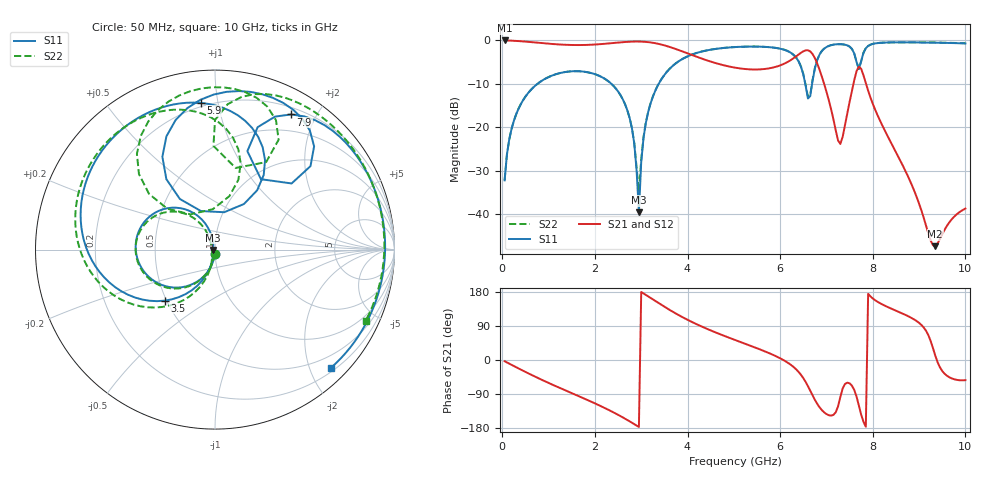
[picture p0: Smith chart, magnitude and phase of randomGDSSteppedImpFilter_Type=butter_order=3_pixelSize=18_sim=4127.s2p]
! freq	dB(S11)	phase(S11)	dB(S12)	phase(S12)
!  dB(S21)	phase(S21)	dB(S22)	phase(S22)
!S-par simulation data
#  GHz  S  DB  R 50
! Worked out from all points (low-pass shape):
!   200 points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, 50 MHz to 10 GHz, reference 50 ohm
!   highest |S21| = -0.01 dB at 50 MHz (marker M1); lowest = -47.4 dB at 9.35 GHz (marker M2)
!   |S21| within 3 dB of the highest: start of sweep to 4.008 GHz; 6.429 GHz to 6.689 GHz (260.4 MHz wide, 3.97 % of centre)
!   lowest |S11| = -39.6 dB at 2.95 GHz (marker M3), VSWR 1.02, Z = 49 - j0.166 ohm
!   |S11| at or under -10 dB: start of sweep to 759.9 MHz; 2.356 GHz to 3.378 GHz (1.022 GHz wide, 35.7 % of centre); 6.542 GHz to 6.69 GHz (148.2 MHz wide, 2.24 % of centre)
!   |S22| runs from -34.9 to -0.4 dB; largest |S21 - S12| = 0
!   S11 on the Smith chart (normalised r, x): 50 MHz: 1.00, -0.05; 3.5 GHz: 0.49, -0.33; 5.9 GHz: 0.18, +0.89; 7.9 GHz: 0.28, +1.68; 10 GHz: 0.27, -2.36
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0.05  -32.23 -93.3  -0.01 -3.3  -0.01 -3.3  -32.23 -93.2
0.2  -20.37 -103.4  -0.06 -12.8  -0.06 -12.8  -20.37 -103.0
0.5  -12.94 -122.5  -0.27 -31.5  -0.27 -31.5  -12.94 -121.5
1.75  -7.18 167.2  -1.05 -100.7  -1.05 -100.7  -7.18 170.9
2.65  -14.68 113.8  -0.37 -154.8  -0.37 -154.8  -14.67 121.1
2.85  -23.77 103.6  -0.26 -169.2  -0.26 -169.2  -23.62 116.3
2.95  -39.59 -170.7  -0.26 -176.7  -0.26 -176.7  -34.90 -164.8
3.1  -18.99 -106.0  -0.34 171.7  -0.34 171.7  -18.88 -104.5
3.4  -9.57 -127.2  -0.86 148.2  -0.86 148.2  -9.55 -122.1
3.5  -7.96 -134.7  -1.14 140.6  -1.14 140.6  -7.94 -129.0
4.25  -2.72 176.3  -3.97 91.4  -3.97 91.4  -2.71 -175.4
5.05  -1.52 136.3  -6.32 51.7  -6.32 51.7  -1.51 147.2
5.9  -1.71 95.5  -6.10 10.6  -6.10 10.6  -1.71 109.4
6.45  -6.07 56.9  -2.84 -39.1  -2.84 -39.1  -6.01 73.4
6.7  -9.28 124.8  -3.14 -93.4  -3.14 -93.4  -9.11 139.4
6.95  -1.90 101.0  -10.02 -138.2  -10.02 -138.2  -1.88 117.5
7.3  -0.87 69.1  -23.85 -97.4  -23.85 -97.4  -0.87 86.9
7.7  -6.59 56.8  -6.03 -120.5  -6.03 -120.5  -6.57 75.8
7.9  -1.27 60.6  -11.56 174.7  -11.56 174.7  -1.27 80.1
8.35  -0.47 31.2  -22.64 138.3  -22.64 138.3  -0.46 51.6
9.35  -0.52 -15.4  -47.39 11.5  -47.39 11.5  -0.49 5.4
10  -0.70 -45.4  -38.72 -53.2  -38.72 -53.2  -0.65 -25.3
